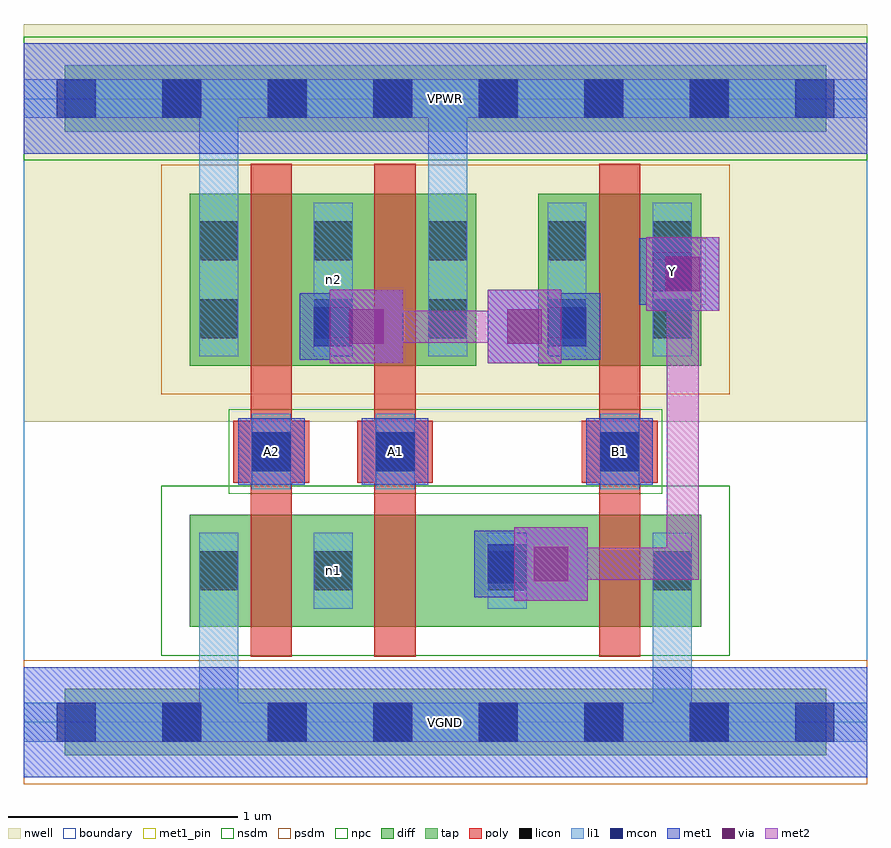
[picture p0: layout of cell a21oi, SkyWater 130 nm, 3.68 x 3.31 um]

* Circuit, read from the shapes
.subckt a21oi A1 A2 B1 VGND VPWR Y n1 n2
XM1 n1 A2 VGND VGND sky130_fd_pr__nfet_01v8 w=0.49 l=0.18
XM2 Y A1 n1 VGND sky130_fd_pr__nfet_01v8 w=0.49 l=0.18
XM3 VGND B1 Y VGND sky130_fd_pr__nfet_01v8 w=0.49 l=0.18
XM4 n2 A2 VPWR VPWR sky130_fd_pr__pfet_01v8 w=0.75 l=0.18
XM5 VPWR A1 n2 VPWR sky130_fd_pr__pfet_01v8 w=0.75 l=0.18
XM6 Y B1 n2 VPWR sky130_fd_pr__pfet_01v8 w=0.75 l=0.18
.ends

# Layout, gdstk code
import gdstk
lib = gdstk.Library(unit=1e-6, precision=1e-09)
def R(c, l, rs):  # rectangles x0, y0, x1, y1
    for r in rs: c.add(gdstk.rectangle(r[:2], r[2:], *l))
def A(c, l, x, y, w, h, nx, ny, dx, dy):  # array of equal rectangles
    R(c, l, [(x+i*dx, y+j*dy, x+i*dx+w, y+j*dy+h) for i in range(nx) for j in range(ny)])
nwell = (64, 20)
diff = (65, 20)
tap = (65, 44)
poly = (66, 20)
licon = (66, 44)
li1 = (67, 20)
mcon = (67, 44)
met1_pin = (68, 16)
met1 = (68, 20)
via = (68, 44)
met2 = (69, 20)
nsdm = (93, 44)
psdm = (94, 20)
npc = (95, 20)
boundary = (235, 4)

a21oi = lib.new_cell('a21oi')
R(a21oi, nwell, [(0,1.31,3.68,3.045)])
R(a21oi, diff, [(0.725,0.415,2.955,0.905), (0.725,1.555,1.975,2.305), (2.245,1.555,2.955,2.305)])
R(a21oi, tap, [(0.18,-0.145,3.5,0.145), (0.18,2.575,3.5,2.865)])
R(a21oi, poly, [(0.99,0.285,1.17,2.435), (1.53,0.285,1.71,2.435), (2.51,0.285,2.69,2.435), (0.915,1.045,1.245,1.315), (1.455,1.045,1.785,1.315), (2.435,1.045,2.765,1.315)])
A(a21oi, licon, 0.605, -0.085, 0.17, 0.17, 6, 2, 0.46, 2.72)
A(a21oi, licon, 0.765, 1.675, 0.17, 0.17, 3, 2, 0.5, 0.34)
R(a21oi, licon, [(0.765,0.575,0.935,0.745), (1.265,0.575,1.435,0.745), (2.025,0.575,2.195,0.745), (2.745,0.575,2.915,0.745), (0.995,1.095,1.165,1.265), (1.535,1.095,1.705,1.265), (2.515,1.095,2.685,1.265), (2.285,1.675,2.455,1.845), (2.745,1.675,2.915,1.845), (2.285,2.015,2.455,2.185), (2.745,2.015,2.915,2.185)])
A(a21oi, li1, 0.765, 1.595, 0.17, 0.67, 3, 1, 0.5, 0)
R(a21oi, li1, [(0,-0.085,3.68,0.085), (0.765,-0.085,0.935,0.825), (2.745,-0.085,2.915,0.825), (0.765,0.495,0.935,0.825), (1.265,0.495,1.435,0.825), (2.025,0.495,2.195,0.825), (2.745,0.495,2.915,0.825), (0.995,1.015,1.165,1.345), (1.535,1.015,1.705,1.345), (2.515,1.015,2.685,1.345), (0.765,1.595,0.935,2.805), (1.765,1.595,1.935,2.805), (2.285,1.595,2.455,2.265), (2.745,1.595,2.915,2.265), (0,2.635,3.68,2.805)])
A(a21oi, mcon, 0.145, -0.085, 0.17, 0.17, 8, 2, 0.46, 2.72)
R(a21oi, mcon, [(2.025,0.605,2.195,0.775), (0.995,1.095,1.165,1.265), (1.535,1.095,1.705,1.265), (2.515,1.095,2.685,1.265), (1.265,1.64,1.435,1.81), (2.285,1.64,2.455,1.81), (2.745,1.88,2.915,2.05)])
R(a21oi, met1_pin, [(0,-0.24,3.68,0.24), (0.935,1.035,1.225,1.325), (1.475,1.035,1.765,1.325), (2.455,1.035,2.745,1.325), (2.685,1.82,2.975,2.11), (0,2.48,3.68,2.96)])
R(a21oi, met1, [(0,-0.24,3.68,0.24), (2.14,0.53,2.46,0.85), (1.965,0.545,2.255,0.835), (2.04,0.62,2.37,0.76), (0.935,1.035,1.225,1.325), (1.475,1.035,1.765,1.325), (2.455,1.035,2.745,1.325), (1.335,1.565,1.655,1.885), (2.025,1.565,2.345,1.885), (1.205,1.58,1.495,1.87), (2.225,1.58,2.515,1.87), (1.28,1.655,1.565,1.795), (2.115,1.655,2.44,1.795), (2.715,1.795,3.035,2.115), (2.685,1.82,2.975,2.11), (2.805,1.885,2.945,2.025), (0,2.48,3.68,2.96)])
R(a21oi, via, [(2.225,0.615,2.375,0.765), (1.42,1.65,1.57,1.8), (2.11,1.65,2.26,1.8), (2.8,1.88,2.95,2.03)])
R(a21oi, met2, [(2.14,0.53,2.46,0.85), (2.23,0.62,2.945,0.76), (2.805,0.62,2.945,2.025), (1.335,1.565,1.655,1.885), (2.025,1.565,2.345,1.885), (1.425,1.655,2.255,1.795), (2.715,1.795,3.035,2.115)])
R(a21oi, nsdm, [(0.6,0.29,3.08,1.03), (0,2.45,3.68,2.99)])
R(a21oi, psdm, [(0,-0.27,3.68,0.27), (0.6,1.43,3.08,2.43)])
R(a21oi, npc, [(0.895,0.995,2.785,1.365)])
R(a21oi, boundary, [(0,0,3.68,2.72)])
a21oi.add(gdstk.Label('n1', (1.35,0.66), layer=67, texttype=5))
a21oi.add(gdstk.Label('n2', (1.35,1.93), layer=67, texttype=5))
a21oi.add(gdstk.Label('A1', (1.62,1.18), layer=68, texttype=5))
a21oi.add(gdstk.Label('A2', (1.08,1.18), layer=68, texttype=5))
a21oi.add(gdstk.Label('B1', (2.6,1.18), layer=68, texttype=5))
a21oi.add(gdstk.Label('Y', (2.83,1.965), layer=68, texttype=5))
a21oi.add(gdstk.Label('VPWR', (1.84,2.72), layer=68, texttype=5))
a21oi.add(gdstk.Label('VGND', (1.84,0), layer=68, texttype=5))
a21oi.add(gdstk.Label('A1', (1.62,1.18), layer=68, texttype=16))
a21oi.add(gdstk.Label('A2', (1.08,1.18), layer=68, texttype=16))
a21oi.add(gdstk.Label('B1', (2.6,1.18), layer=68, texttype=16))
a21oi.add(gdstk.Label('Y', (2.83,1.965), layer=68, texttype=16))
a21oi.add(gdstk.Label('VPWR', (1.84,2.72), layer=68, texttype=16))
a21oi.add(gdstk.Label('VGND', (1.84,0), layer=68, texttype=16))

lib.write_gds('a21oi.gds')
